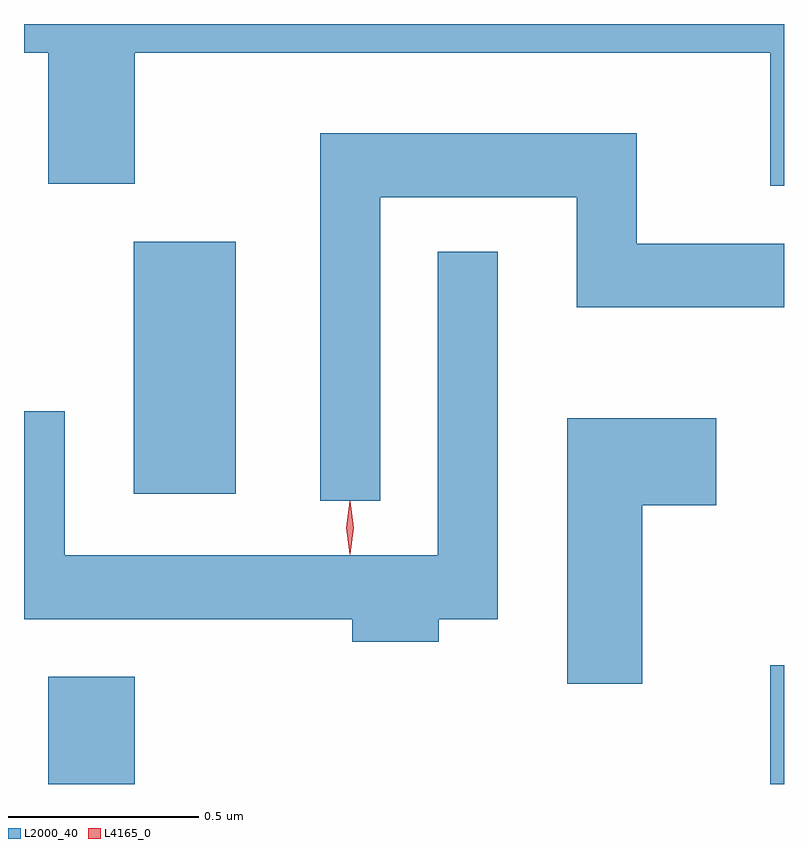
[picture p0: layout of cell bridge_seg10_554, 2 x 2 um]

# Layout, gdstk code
import gdstk
lib = gdstk.Library(unit=1e-6, precision=1e-09)
def R(c, l, rs):  # rectangles x0, y0, x1, y1
    for r in rs: c.add(gdstk.rectangle(r[:2], r[2:], *l))
def P(c, l, *ps):  # polygons
    for p in ps: c.add(gdstk.Polygon(p, *l))
L2000_40 = (2000, 40)
L4165_0 = (4165, 0)

bridge_seg10_554 = lib.new_cell('bridge_seg10_554')
R(bridge_seg10_554, L2000_40, [(768.931,2156.392,769.159,2156.674), (770.831,2156.392,770.867,2156.704), (769.156,2157.156,769.424,2157.819)])
P(bridge_seg10_554, L2000_40, [(770.867,2158.392),(768.867,2158.392),(768.867,2158.316),(768.931,2158.316),(768.931,2157.971),(769.159,2157.971),(769.159,2158.316),(770.831,2158.316),(770.831,2157.966),(770.867,2157.966)],
  [(769.804,2157.936),(770.321,2157.936),(770.321,2157.646),(770.867,2157.646),(770.867,2157.814),(770.479,2157.814),(770.479,2158.104),(769.646,2158.104),(769.646,2157.138),(769.804,2157.138)],
  [(769.959,2156.826),(770.114,2156.826),(770.114,2157.793),(769.956,2157.793),(769.956,2156.994),(768.974,2156.994),(768.974,2157.373),(768.867,2157.373),(768.867,2156.826),(769.731,2156.826),(769.731,2156.766),(769.959,2156.766)],
  [(770.494,2157.126),(770.689,2157.126),(770.689,2157.354),(770.296,2157.354),(770.296,2156.656),(770.494,2156.656)])
P(bridge_seg10_554, L4165_0, [(769.724,2156.997),(769.715,2157.066),(769.724,2157.136),(769.725,2157.136),(769.725,2157.136),(769.735,2157.066),(769.725,2156.997),(769.725,2156.997)])

lib.write_gds('bridge_seg10_554.gds')
